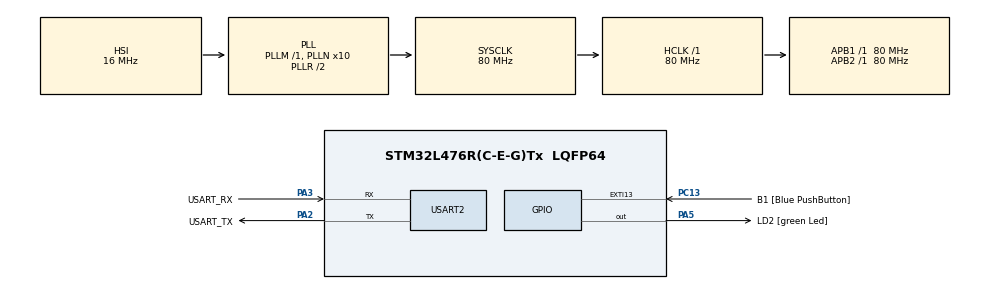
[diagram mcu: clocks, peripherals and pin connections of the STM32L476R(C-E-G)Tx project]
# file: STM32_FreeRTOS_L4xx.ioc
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FREERTOS.Tasks01=defaultTask,0,128,StartDefaultTask,Default,NULL,Dynamic,NULL,NULL
FREERTOS.configUSE_IDLE_HOOK=1
FREERTOS.configUSE_MALLOC_FAILED_HOOK=1
FREERTOS.configUSE_TICK_HOOK=1
Mcu.Family=STM32L4
Mcu.Name=STM32L476R(C-E-G)Tx
Mcu.Package=LQFP64
NVIC.PriorityGroup=NVIC_PRIORITYGROUP_4
PA13\ (JTMS-SWDIO).GPIO_Label=TMS
PA13\ (JTMS-SWDIO).Mode=Serial_Wire
PA13\ (JTMS-SWDIO).Signal=SYS_JTMS-SWDIO
PA14\ (JTCK-SWCLK).GPIO_Label=TCK
PA14\ (JTCK-SWCLK).Mode=Serial_Wire
PA14\ (JTCK-SWCLK).Signal=SYS_JTCK-SWCLK
PA2.GPIO_Label=USART_TX
PA2.GPIO_Mode=GPIO_MODE_AF_PP
PA2.GPIO_PuPd=GPIO_NOPULL
PA2.GPIO_Speed=GPIO_SPEED_FREQ_VERY_HIGH
PA2.Mode=Asynchronous
PA2.Signal=USART2_TX
PA3.GPIO_Label=USART_RX
PA3.GPIO_Mode=GPIO_MODE_AF_PP
PA3.GPIO_PuPd=GPIO_NOPULL
PA3.GPIO_Speed=GPIO_SPEED_FREQ_VERY_HIGH
PA3.Mode=Asynchronous
PA3.Signal=USART2_RX
PA5.GPIO_Label=LD2 [green Led]
PA5.GPIO_ModeDefaultOutputPP=GPIO_MODE_OUTPUT_PP
PA5.GPIO_PuPd=GPIO_NOPULL
PA5.GPIO_Speed=GPIO_SPEED_FREQ_LOW
PA5.Signal=GPIO_Output
PB3\ (JTDO-TRACESWO).GPIO_Label=SWO
PB3\ (JTDO-TRACESWO).Signal=SYS_JTDO-SWO
PC13.GPIO_Label=B1 [Blue PushButton]
PC13.GPIO_ModeDefaultEXTI=GPIO_MODE_IT_FALLING
PC13.GPIO_PuPd=GPIO_NOPULL
PC13.Signal=GPXTI13
PC14-OSC32_IN\ (PC14).Signal=RCC_OSC32_IN
PC15-OSC32_OUT\ (PC15).Signal=RCC_OSC32_OUT
PH0-OSC_IN\ (PH0).Mode=HSE-External-Oscillator
PH0-OSC_IN\ (PH0).Signal=RCC_OSC_IN
PH1-OSC_OUT\ (PH1).Mode=HSE-External-Oscillator
PH1-OSC_OUT\ (PH1).Signal=RCC_OSC_OUT
ProjectManager.HeapSize=0x200
ProjectManager.StackSize=0x400
ProjectManager.TargetToolchain=STM32CubeIDE
RCC.ADCFreq_Value=64000000
RCC.AHBFreq_Value=80000000
RCC.APB1Freq_Value=80000000
RCC.APB1TimFreq_Value=80000000
RCC.APB2Freq_Value=80000000
RCC.APB2TimFreq_Value=80000000
RCC.CortexFreq_Value=80000000
RCC.HCLKFreq_Value=80000000
RCC.HSE_VALUE=8000000
RCC.HSI_VALUE=16000000
RCC.LSE_VALUE=32768
RCC.MSI_VALUE=4000000
RCC.PLLN=10
RCC.PLLSourceVirtual=RCC_PLLSOURCE_HSI
RCC.PREFETCH_ENABLE=1
RCC.SYSCLKFreq_VALUE=80000000
RCC.SYSCLKSource=RCC_SYSCLKSOURCE_PLLCLK
RCC.USBFreq_Value=64000000
RCC.VCOOutputFreq_Value=160000000
USART2.VirtualMode-Asynchronous=VM_ASYNC
VP_FREERTOS_VS_CMSIS_V1.Mode=CMSIS_V1
board=NUCLEO-L476RG

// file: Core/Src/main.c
/* USER CODE BEGIN Header */
/**
  ******************************************************************************
  * @file           : main.c
  * @brief          : Main program body
  ******************************************************************************
  * @attention
  *
  * Copyright (c) 2025 STMicroelectronics.
  * All rights reserved.
  *
  * This software is licensed under terms that can be found in the LICENSE file
  * in the root directory of this software component.
  * If no LICENSE file comes with this software, it is provided AS-IS.
  *
  ******************************************************************************
  */
/* USER CODE END Header */
#include "main.h"
#include "cmsis_os.h"

UART_HandleTypeDef huart2;

osThreadId defaultTaskHandle;
/* USER CODE BEGIN PV */
TaskHandle_t xTaskHandle1 = {0};
TaskHandle_t xTaskHandle2 = {0};
uint8_t switchState = RESET;
/* USER CODE END PV */

void SystemClock_Config(void);
static void MX_GPIO_Init(void);
static void MX_USART2_UART_Init(void);
void StartDefaultTask(void const * argument);

/* USER CODE BEGIN PFP */
int _write(int file,char *ptr,int len)
{
    int i=0;
    for(i=0;i<len;i++)
    	ITM_SendChar((*ptr++));
    return len;
}
/* USER CODE END PFP */

/* USER CODE BEGIN 0 */
/*
 * Function Name : void task1Handle(void *para)
 * Description   : This function to control LED depending on button notification
 */
void task1LEDHandle(void *para)
{
	/* Infinite loop */
	while(1U)
	{
		printf("Task - 1 Running...\n");
		HAL_GPIO_TogglePin(GPIOA, GPIO_PIN_5);
		vTaskDelay(pdMS_TO_TICKS(1000));
	}
}
/*
 * Function Name :  void task2Handle(void *para)
 * Description   :  This Function to update button status
 */
void task2SwitchHandle(void *para)
{

	while(1U)
	{
		printf("Task - 2 Running..\n");
		HAL_GPIO_TogglePin(GPIOA, GPIO_PIN_5);
		vTaskDelay(pdMS_TO_TICKS(1000));
	}
}

/* USER CODE END 0 */

int main(void)
{

  /* MCU Configuration--------------------------------------------------------*/

  /* Reset of all peripherals, Initializes the Flash interface and the Systick. */
  HAL_Init();

  /* Configure the system clock */
  SystemClock_Config();

  /* Initialize all configured peripherals */
  MX_GPIO_Init();
  MX_USART2_UART_Init();

  /* Create the thread(s) */
  /* definition and creation of defaultTask */
  osThreadDef(defaultTask, StartDefaultTask, osPriorityNormal, 0, 128);
  defaultTaskHandle = osThreadCreate(osThread(defaultTask), NULL);

  /* USER CODE BEGIN RTOS_THREADS */
  /* add threads, ... */
  /* Function call to create task 1*/
  xTaskCreate(task1LEDHandle, "LED Blink ", configMINIMAL_STACK_SIZE , NULL, 1, &xTaskHandle1);
  /* Function call to create task 2*/
   xTaskCreate(task2SwitchHandle, "Switch State ", configMINIMAL_STACK_SIZE , NULL, 1, &xTaskHandle2);
  /* USER CODE END RTOS_THREADS */

  /* Start scheduler */
  osKernelStart();

  /* We should never get here as control is now taken by the scheduler */

  /* Infinite loop */
  while (1)
  {

  }
}

void SystemClock_Config(void)
{
  RCC_OscInitTypeDef RCC_OscInitStruct = {0};
  RCC_ClkInitTypeDef RCC_ClkInitStruct = {0};

  /** Configure the main internal regulator output voltage
  */
  if (HAL_PWREx_ControlVoltageScaling(PWR_REGULATOR_VOLTAGE_SCALE1) != HAL_OK)
  {
    Error_Handler();
  }

  /** Initializes the RCC Oscillators according to the specified parameters
  * in the RCC_OscInitTypeDef structure.
  */
  RCC_OscInitStruct.OscillatorType = RCC_OSCILLATORTYPE_HSI;
  RCC_OscInitStruct.HSIState = RCC_HSI_ON;
  RCC_OscInitStruct.HSICalibrationValue = RCC_HSICALIBRATION_DEFAULT;
  RCC_OscInitStruct.PLL.PLLState = RCC_PLL_ON;
  RCC_OscInitStruct.PLL.PLLSource = RCC_PLLSOURCE_HSI;
  RCC_OscInitStruct.PLL.PLLM = 1;
  RCC_OscInitStruct.PLL.PLLN = 10;
  RCC_OscInitStruct.PLL.PLLP = RCC_PLLP_DIV7;
  RCC_OscInitStruct.PLL.PLLQ = RCC_PLLQ_DIV2;
  RCC_OscInitStruct.PLL.PLLR = RCC_PLLR_DIV2;
  if (HAL_RCC_OscConfig(&RCC_OscInitStruct) != HAL_OK)
  {
    Error_Handler();
  }

  /** Initializes the CPU, AHB and APB buses clocks
  */
  RCC_ClkInitStruct.ClockType = RCC_CLOCKTYPE_HCLK|RCC_CLOCKTYPE_SYSCLK
                              |RCC_CLOCKTYPE_PCLK1|RCC_CLOCKTYPE_PCLK2;
  RCC_ClkInitStruct.SYSCLKSource = RCC_SYSCLKSOURCE_PLLCLK;
  RCC_ClkInitStruct.AHBCLKDivider = RCC_SYSCLK_DIV1;
  RCC_ClkInitStruct.APB1CLKDivider = RCC_HCLK_DIV1;
  RCC_ClkInitStruct.APB2CLKDivider = RCC_HCLK_DIV1;

  if (HAL_RCC_ClockConfig(&RCC_ClkInitStruct, FLASH_LATENCY_4) != HAL_OK)
  {
    Error_Handler();
  }
}

static void MX_USART2_UART_Init(void)
{

  huart2.Instance = USART2;
  huart2.Init.BaudRate = 115200;
  huart2.Init.WordLength = UART_WORDLENGTH_8B;
  huart2.Init.StopBits = UART_STOPBITS_1;
  huart2.Init.Parity = UART_PARITY_NONE;
  huart2.Init.Mode = UART_MODE_TX_RX;
  huart2.Init.HwFlowCtl = UART_HWCONTROL_NONE;
  huart2.Init.OverSampling = UART_OVERSAMPLING_16;
  huart2.Init.OneBitSampling = UART_ONE_BIT_SAMPLE_DISABLE;
  huart2.AdvancedInit.AdvFeatureInit = UART_ADVFEATURE_NO_INIT;
  if (HAL_UART_Init(&huart2) != HAL_OK)
  {
    Error_Handler();
  }

}

static void MX_GPIO_Init(void)
{
  GPIO_InitTypeDef GPIO_InitStruct = {0};

  /* GPIO Ports Clock Enable */
  __HAL_RCC_GPIOC_CLK_ENABLE();
  __HAL_RCC_GPIOH_CLK_ENABLE();
  __HAL_RCC_GPIOA_CLK_ENABLE();
  __HAL_RCC_GPIOB_CLK_ENABLE();

  /*Configure GPIO pin Output Level */
  HAL_GPIO_WritePin(LD2_GPIO_Port, LD2_Pin, GPIO_PIN_RESET);

  /*Configure GPIO pin : B1_Pin */
  GPIO_InitStruct.Pin = B1_Pin;
  GPIO_InitStruct.Mode = GPIO_MODE_IT_FALLING;
  GPIO_InitStruct.Pull = GPIO_NOPULL;
  HAL_GPIO_Init(B1_GPIO_Port, &GPIO_InitStruct);

  /*Configure GPIO pin : LD2_Pin */
  GPIO_InitStruct.Pin = LD2_Pin;
  GPIO_InitStruct.Mode = GPIO_MODE_OUTPUT_PP;
  GPIO_InitStruct.Pull = GPIO_NOPULL;
  GPIO_InitStruct.Speed = GPIO_SPEED_FREQ_LOW;
  HAL_GPIO_Init(LD2_GPIO_Port, &GPIO_InitStruct);

}

/* USER CODE BEGIN 4 */
void vApplicationIdleHook(void)
{
	static uint8_t hookPrint = RESET;
	if(RESET == hookPrint)
	{
		printf("IDEAL TASK HOOK CALLED..\n");
		hookPrint = SET;
	}
	__WFI();
}
/* USER CODE END 4 */

void StartDefaultTask(void const * argument)
{
  for(;;)
  {
    osDelay(1);
  }
}

void Error_Handler(void)
{
  __disable_irq();
  while (1)
  {
  }
}

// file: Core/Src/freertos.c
/* USER CODE BEGIN Header */
/**
  ******************************************************************************
  * File Name          : freertos.c
  * Description        : Code for freertos applications
  ******************************************************************************
  * @attention
  *
  * Copyright (c) 2025 STMicroelectronics.
  * All rights reserved.
  *
  * This software is licensed under terms that can be found in the LICENSE file
  * in the root directory of this software component.
  * If no LICENSE file comes with this software, it is provided AS-IS.
  *
  ******************************************************************************
  */
/* USER CODE END Header */

#include "FreeRTOS.h"
#include "task.h"
#include "main.h"

/* GetIdleTaskMemory prototype (linked to static allocation support) */
void vApplicationGetIdleTaskMemory( StaticTask_t **ppxIdleTaskTCBBuffer, StackType_t **ppxIdleTaskStackBuffer, uint32_t *pulIdleTaskStackSize );

/* Hook prototypes */
void vApplicationIdleHook(void);
void vApplicationTickHook(void);
void vApplicationMallocFailedHook(void);

/* USER CODE BEGIN 2 */
__weak void vApplicationIdleHook( void )
{
   /* vApplicationIdleHook() will only be called if configUSE_IDLE_HOOK is set
   to 1 in FreeRTOSConfig.h. It will be called on each iteration of the idle
   task. It is essential that code added to this hook function never attempts
   to block in any way (for example, call xQueueReceive() with a block time
   specified, or call vTaskDelay()). If the application makes use of the
   vTaskDelete() API function (as this demo application does) then it is also
   important that vApplicationIdleHook() is permitted to return to its calling
   function, because it is the responsibility of the idle task to clean up
   memory allocated by the kernel to any task that has since been deleted. */
}
/* USER CODE END 2 */

/* USER CODE BEGIN 3 */
__weak void vApplicationTickHook( void )
{
   /* This function will be called by each tick interrupt if
   configUSE_TICK_HOOK is set to 1 in FreeRTOSConfig.h. User code can be
   added here, but the tick hook is called from an interrupt context, so
   code must not attempt to block, and only the interrupt safe FreeRTOS API
   functions can be used (those that end in FromISR()). */
}
/* USER CODE END 3 */

/* USER CODE BEGIN 5 */
__weak void vApplicationMallocFailedHook(void)
{
   /* vApplicationMallocFailedHook() will only be called if
   configUSE_MALLOC_FAILED_HOOK is set to 1 in FreeRTOSConfig.h. It is a hook
   function that will get called if a call to pvPortMalloc() fails.
   pvPortMalloc() is called internally by the kernel whenever a task, queue,
   timer or semaphore is created. It is also called by various parts of the
   demo application. If heap_1.c or heap_2.c are used, then the size of the
   heap available to pvPortMalloc() is defined by configTOTAL_HEAP_SIZE in
   FreeRTOSConfig.h, and the xPortGetFreeHeapSize() API function can be used
   to query the size of free heap space that remains (although it does not
   provide information on how the remaining heap might be fragmented). */
}
/* USER CODE END 5 */

/* USER CODE BEGIN GET_IDLE_TASK_MEMORY */
static StaticTask_t xIdleTaskTCBBuffer;
static StackType_t xIdleStack[configMINIMAL_STACK_SIZE];

void vApplicationGetIdleTaskMemory( StaticTask_t **ppxIdleTaskTCBBuffer, StackType_t **ppxIdleTaskStackBuffer, uint32_t *pulIdleTaskStackSize )
{
  *ppxIdleTaskTCBBuffer = &xIdleTaskTCBBuffer;
  *ppxIdleTaskStackBuffer = &xIdleStack[0];
  *pulIdleTaskStackSize = configMINIMAL_STACK_SIZE;
  /* place for user code */
}
/* USER CODE END GET_IDLE_TASK_MEMORY */
